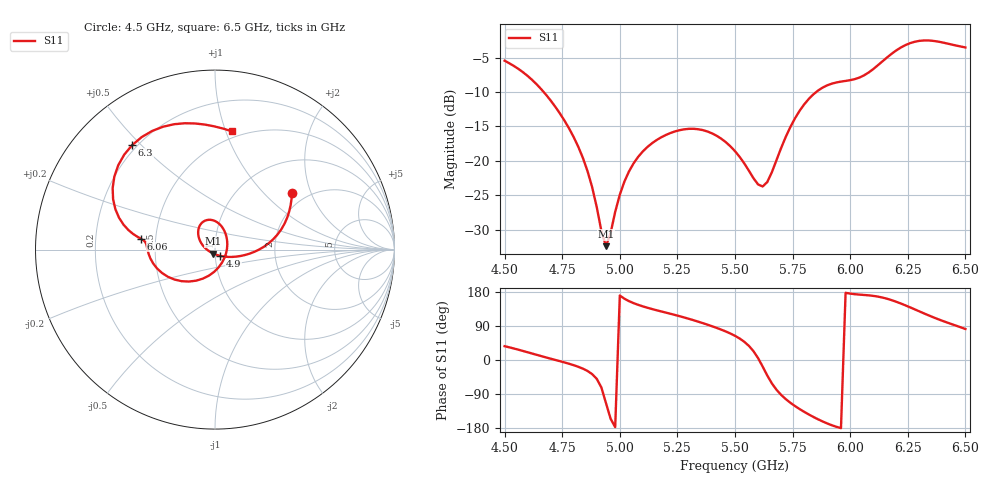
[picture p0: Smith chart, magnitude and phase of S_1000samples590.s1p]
! TOUCHSTONE file generated by CST MICROWAVE STUDIO
! Date and time: Fri Oct 28 17:05:45 2022
! Project name: L.cst
! Parameters = {Di=1.27; Epsilon_r=1.56; InnerDiameter=1.27; Length=2; Lf=10; Lg=60; OuterConductorThickness=0.2921; OuterDiameter=3.6; Wf=3; Wp=41.2; de=1.5; df=6.8; g=0.8; gx=1.03414; gy=0.813651; h=2.34; hf=1.524; px=11.6693; py=8.83901; w=9.7; wx=10.6352; wy=8.02536}
! Header version: 2018
! Port assignment regex: !\s*Touchstone port\s*([0-9]+)\s*=\s*(CST MWS port|CST DS port)\s*([0-9]+|Zmin|Zmax)\s*\(\"(.*)\"\)(\s*mode\s*([0-9]+))?.*
! Touchstone port assignment:
! Touchstone port 1 = CST MWS port 1 ("")
# GHz S DB R 50
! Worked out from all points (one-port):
!   101 points, 4.5 GHz to 6.5 GHz, reference 50 ohm
!   lowest |S11| = -32.4 dB at 4.94 GHz (marker M1), VSWR 1.05, Z = 49 - j2.15 ohm
!   |S11| at or under -10 dB: 4.669 GHz to 5.853 GHz (1.184 GHz wide, 22.5 % of centre)
!   S11 on the Smith chart (normalised r, x): 4.5 GHz: 1.68, +1.49; 4.9 GHz: 1.06, -0.07; 6.06 GHz: 0.41, +0.06; 6.3 GHz: 0.18, +0.47; 6.5 GHz: 0.44, +1.05
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4.5  -5.46 36.4
4.64  -8.93 13.5
4.76  -14.18 -6.5
4.84  -19.61 -22.9
4.9  -26.75 -49.8
4.92  -30.21 -72.4
4.94  -32.42 -113.8
4.96  -30.50 -154.8
5  -24.94 170.2
5.04  -21.54 155.3
5.1  -18.64 141.5
5.26  -15.56 115.5
5.38  -15.75 93.3
5.5  -18.61 63.9
5.6  -23.44 5.1
5.62  -23.74 -17.3
5.64  -23.10 -40.9
5.76  -13.86 -121.4
5.86  -9.81 -156.4
5.92  -8.80 -172.1
6  -8.29 175.2
6.06  -7.59 171.6
6.16  -4.99 161.7
6.22  -3.54 149.0
6.26  -2.91 138.9
6.3  -2.58 128.3
6.38  -2.68 108.1
6.5  -3.54 81.8
